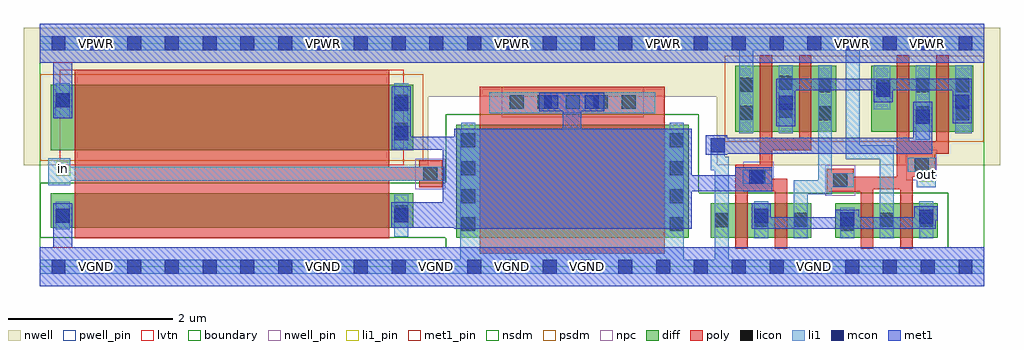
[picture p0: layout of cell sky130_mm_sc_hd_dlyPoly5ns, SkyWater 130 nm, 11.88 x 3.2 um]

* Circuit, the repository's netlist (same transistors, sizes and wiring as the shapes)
* NGSPICE file created from sky130_mm_sc_hd_dlyPoly5ns.ext - technology: sky130A

.subckt sky130_mm_sc_hd_dlyPoly5ns VPWR in out VGND VNB VPB
X0 a_851_95# in VGND VNB sky130_fd_pr__nfet_01v8 ad=1.218e+11p pd=1.42e+06u as=1.0453e+12p ps=9.52e+06u w=420000u l=3.83e+06u
X1 a_1724_71# a_851_95# VGND VNB sky130_fd_pr__nfet_01v8 ad=3.99e+11p pd=4.42e+06u as=0p ps=0u w=420000u l=150000u
X2 VPWR out a_1724_71# VNB sky130_fd_pr__nfet_01v8 ad=1.386e+11p pd=1.5e+06u as=0p ps=0u w=420000u l=150000u
X3 VGND out a_1783_329# VPB sky130_fd_pr__pfet_01v8 ad=2.64e+11p pd=2.26e+06u as=7.52e+11p ps=6.68e+06u w=800000u l=150000u
X4 a_1783_329# out VGND VPB sky130_fd_pr__pfet_01v8 ad=0p pd=0u as=0p ps=0u w=800000u l=150000u
X5 a_1724_71# out VPWR VNB sky130_fd_pr__nfet_01v8 ad=0p pd=0u as=0p ps=0u w=420000u l=150000u
X6 VGND a_851_95# VGND VNB sky130_fd_pr__nfet_01v8 ad=0p pd=0u as=0p ps=0u w=1.375e+06u l=2.25e+06u
X7 a_1783_329# a_851_95# VPWR VPB sky130_fd_pr__pfet_01v8 ad=0p pd=0u as=4.72e+11p ps=4.38e+06u w=800000u l=150000u
X8 out a_851_95# a_1783_329# VPB sky130_fd_pr__pfet_01v8 ad=2.4e+11p pd=2.2e+06u as=0p ps=0u w=800000u l=150000u
X9 a_851_95# in VPWR VPB sky130_fd_pr__pfet_01v8_lvt ad=2.32e+11p pd=2.18e+06u as=0p ps=0u w=800000u l=3.83e+06u
X10 out a_851_95# a_1724_71# VNB sky130_fd_pr__nfet_01v8 ad=1.218e+11p pd=1.42e+06u as=0p ps=0u w=420000u l=150000u
.ends

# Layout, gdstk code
import gdstk
lib = gdstk.Library(unit=1e-6, precision=1e-09)
def R(c, l, rs):  # rectangles x0, y0, x1, y1
    for r in rs: c.add(gdstk.rectangle(r[:2], r[2:], *l))
def A(c, l, x, y, w, h, nx, ny, dx, dy):  # array of equal rectangles
    R(c, l, [(x+i*dx, y+j*dy, x+i*dx+w, y+j*dy+h) for i in range(nx) for j in range(ny)])
nwell_pin = (64, 16)
nwell = (64, 20)
diff = (65, 20)
poly = (66, 20)
licon = (66, 44)
li1_pin = (67, 16)
li1 = (67, 20)
mcon = (67, 44)
met1_pin = (68, 16)
met1 = (68, 20)
nsdm = (93, 44)
psdm = (94, 20)
npc = (95, 20)
pwell_pin = (122, 16)
lvtn = (125, 44)
boundary = (235, 4)

sky130_mm_sc_hd_dlypoly5 = lib.new_cell('sky130_mm_sc_hd_dlyPoly5ns')
R(sky130_mm_sc_hd_dlypoly5, nwell_pin, [(0.605,2.635,0.775,2.805), (3.365,2.635,3.535,2.805), (7.505,2.635,7.675,2.805), (9.805,2.635,9.975,2.805), (10.725,2.635,10.895,2.805)])
R(sky130_mm_sc_hd_dlypoly5, nwell, [(-0.19,1.235,4.73,2.07), (8.24,1.235,11.69,2.07), (-0.19,2.07,11.69,2.91)])
R(sky130_mm_sc_hd_dlypoly5, diff, [(5.07,0.355,7.9,1.73), (8.17,0.355,9.39,0.775), (9.685,0.355,10.935,0.775), (0.135,0.475,4.545,0.895), (0.135,1.415,4.545,2.215), (8.465,1.645,9.695,2.445), (10.125,1.645,11.365,2.445)])
R(sky130_mm_sc_hd_dlypoly5, poly, [(5.36,0.16,7.61,2.19), (8.47,0.22,8.62,0.92), (8.95,0.22,9.1,0.92), (9.995,0.22,10.145,0.91), (10.475,0.22,10.625,0.945), (0.425,0.345,4.255,1.045), (9.58,0.91,10.145,0.945), (8.47,0.92,9.1,1.07), (9.58,0.945,10.625,1.095), (4.62,0.965,4.9,1.045), (0.425,1.045,4.9,1.215), (8.47,1.07,8.915,1.24), (9.58,1.095,9.91,1.19), (10.435,1.095,10.9,1.375), (0.425,1.215,4.255,2.395), (4.62,1.215,4.9,1.295), (8.765,1.24,8.915,1.42), (10.435,1.375,11.065,1.525), (8.765,1.42,9.395,1.57), (10.435,1.525,10.585,2.575), (10.915,1.525,11.065,2.575), (8.765,1.57,8.915,2.575), (9.245,1.57,9.395,2.575)])
A(sky130_mm_sc_hd_dlypoly5, licon, 5.13, 0.435, 0.17, 0.17, 1, 4, 0, 0.34)
A(sky130_mm_sc_hd_dlypoly5, licon, 7.67, 0.435, 0.17, 0.17, 1, 4, 0, 0.34)
A(sky130_mm_sc_hd_dlypoly5, licon, 5.725, 1.92, 0.17, 0.17, 5, 1, 0.34, 0)
R(sky130_mm_sc_hd_dlypoly5, licon, [(9.745,0.435,9.915,0.605), (8.22,0.48,8.39,0.65), (8.7,0.485,8.87,0.655), (9.18,0.485,9.35,0.655), (10.225,0.485,10.395,0.655), (10.705,0.485,10.875,0.655), (0.195,0.535,0.365,0.705), (4.315,0.58,4.485,0.75), (9.66,0.965,9.83,1.135), (8.665,1.01,8.835,1.18), (4.67,1.045,4.84,1.215), (10.65,1.155,10.82,1.325), (4.315,1.585,4.485,1.755), (9.475,1.785,9.645,1.955), (10.665,1.785,10.835,1.955), (11.145,1.785,11.315,1.955), (8.515,1.79,8.685,1.96), (8.995,1.815,9.165,1.985), (4.315,1.925,4.485,2.095), (0.195,1.94,0.365,2.11), (10.185,2.1,10.355,2.27), (9.475,2.125,9.645,2.295), (10.665,2.125,10.835,2.295), (11.145,2.125,11.315,2.295), (8.515,2.13,8.685,2.3), (8.995,2.155,9.165,2.325)])
R(sky130_mm_sc_hd_dlypoly5, li1_pin, [(10.705,1.035,10.875,1.205), (0.2,1.105,0.37,1.275)])
R(sky130_mm_sc_hd_dlypoly5, li1, [(0,-0.085,11.5,0.085), (4.745,0.085,4.915,0.09), (5.12,0.085,7.84,1.68), (8.22,0.085,8.39,1.175), (8.7,0.345,8.87,0.795), (9.18,0.345,9.35,0.88), (9.745,0.345,9.915,0.715), (10.225,0.345,10.395,1.31), (10.705,0.345,10.875,0.795), (4.315,0.365,4.485,0.875), (0.195,0.455,0.365,0.79), (9.18,0.88,9.645,0.965), (9.18,0.965,9.91,1.05), (10.675,0.965,10.905,1.155), (0.105,0.99,0.375,1.045), (8.56,1.01,8.915,1.18), (0.105,1.045,4.925,1.215), (9.475,1.05,9.91,1.14), (9.475,1.14,9.645,2.455), (10.57,1.155,10.905,1.325), (8.17,1.175,8.39,1.34), (0.105,1.215,0.375,1.32), (9.815,1.31,10.395,1.48), (8.17,1.34,8.34,1.565), (4.315,1.445,4.485,2.235), (9.815,1.48,9.985,2.635), (10.665,1.545,10.835,2.455), (8.515,1.625,8.685,2.635), (8.995,1.625,9.165,2.455), (11.145,1.625,11.345,2.455), (5.13,1.68,5.3,1.75), (7.67,1.68,7.84,1.755), (0.19,1.805,0.365,2), (5.475,1.87,7.495,2.125), (10.155,1.915,10.355,2.455), (0.195,2,0.365,2.235), (0,2.635,11.5,2.805)])
A(sky130_mm_sc_hd_dlypoly5, mcon, 0.145, -0.085, 0.17, 0.17, 25, 2, 0.46, 2.72)
R(sky130_mm_sc_hd_dlypoly5, mcon, [(9.745,0.495,9.915,0.665), (10.705,0.525,10.875,0.695), (0.195,0.535,0.365,0.705), (8.7,0.535,8.87,0.705), (4.315,0.54,4.485,0.71), (8.64,1.01,8.81,1.18), (8.17,1.395,8.34,1.565), (4.315,1.54,4.485,1.71), (10.665,1.74,10.835,1.91), (4.315,1.9,4.485,2.07), (8.995,1.91,9.165,2.08), (6.145,1.92,6.315,2.09), (6.635,1.92,6.805,2.09), (11.145,1.925,11.315,2.095), (0.195,1.94,0.365,2.11), (10.185,2.07,10.355,2.24)])
R(sky130_mm_sc_hd_dlypoly5, met1_pin, [(0,-0.24,11.5,0.24), (0.605,-0.085,0.775,0.085), (3.365,-0.085,3.535,0.085), (6.585,-0.085,6.755,0.085), (9.345,-0.085,9.515,0.085), (4.745,-0.08,4.915,0.09), (0,2.48,11.5,2.96), (0.605,2.635,0.775,2.805), (3.365,2.635,3.535,2.805), (7.505,2.635,7.675,2.805), (9.805,2.635,9.975,2.805), (10.725,2.635,10.895,2.805)])
R(sky130_mm_sc_hd_dlypoly5, met1, [(0,-0.24,11.5,0.24), (0.165,0.24,0.395,0.775), (5.05,0.465,7.94,0.475), (8.67,0.465,10.905,0.565), (4.28,0.475,7.94,0.785), (8.67,0.565,10.935,0.605), (8.67,0.605,8.9,0.775), (9.685,0.605,9.975,0.695), (10.645,0.605,10.935,0.735), (4.91,0.785,7.94,0.92), (4.91,0.92,8.915,1.115), (4.91,1.115,7.94,1.425), (8.465,1.115,8.915,1.21), (8.11,1.365,8.37,1.375), (8.11,1.375,10.865,1.57), (4.285,1.425,7.94,1.58), (8.11,1.57,8.37,1.6), (10.635,1.57,10.865,2.01), (4.285,1.58,4.515,2.195), (5.05,1.58,7.94,1.68), (6.365,1.68,6.59,1.89), (8.965,1.71,9.195,2.15), (11.115,1.745,11.345,2.15), (0.19,1.805,0.365,1.81), (0.165,1.81,0.395,2.48), (6.08,1.89,6.87,2.12), (10.155,2,10.385,2.15), (8.965,2.15,11.345,2.29), (0,2.48,11.5,2.96)])
R(sky130_mm_sc_hd_dlypoly5, nsdm, [(4.945,0.23,11.06,0.35), (0.01,0.35,11.06,0.9), (0.01,0.9,8.025,1.02), (4.945,1.02,8.025,1.855)])
R(sky130_mm_sc_hd_dlypoly5, psdm, [(0.01,1.29,4.67,2.34), (8.34,1.52,11.49,2.57)])
R(sky130_mm_sc_hd_dlypoly5, npc, [(9.56,0.865,9.93,1.235), (8.565,0.91,8.935,1.28), (4.57,0.945,4.94,1.315), (10.55,1.055,10.92,1.425), (5.625,1.82,7.355,2.19)])
R(sky130_mm_sc_hd_dlypoly5, pwell_pin, [(0.605,-0.085,0.775,0.085), (3.365,-0.085,3.535,0.085), (6.585,-0.085,6.755,0.085), (9.345,-0.085,9.515,0.085), (4.745,-0.08,4.915,0.09)])
R(sky130_mm_sc_hd_dlypoly5, lvtn, [(0.245,1.235,4.435,2.395)])
R(sky130_mm_sc_hd_dlypoly5, boundary, [(0,0,11.5,2.72)])
sky130_mm_sc_hd_dlypoly5.add(gdstk.Label('VPWR', (5.75,2.72), layer=68, texttype=16))
sky130_mm_sc_hd_dlypoly5.add(gdstk.Label('VPWR', (3.45,2.72), layer=68, texttype=16))
sky130_mm_sc_hd_dlypoly5.add(gdstk.Label('VPWR', (0.69,2.72), layer=68, texttype=16))
sky130_mm_sc_hd_dlypoly5.add(gdstk.Label('VPWR', (10.81,2.72), layer=68, texttype=16))
sky130_mm_sc_hd_dlypoly5.add(gdstk.Label('VPWR', (9.89,2.72), layer=68, texttype=16))
sky130_mm_sc_hd_dlypoly5.add(gdstk.Label('VPWR', (7.59,2.72), layer=68, texttype=16))
sky130_mm_sc_hd_dlypoly5.add(gdstk.Label('in', (0.285,1.19), layer=67, texttype=16))
sky130_mm_sc_hd_dlypoly5.add(gdstk.Label('out', (10.79,1.12), layer=67, texttype=16))
sky130_mm_sc_hd_dlypoly5.add(gdstk.Label('VGND', (5.75,0), layer=68, texttype=16))
sky130_mm_sc_hd_dlypoly5.add(gdstk.Label('VGND', (3.45,0), layer=68, texttype=16))
sky130_mm_sc_hd_dlypoly5.add(gdstk.Label('VGND', (6.67,0), layer=68, texttype=16))
sky130_mm_sc_hd_dlypoly5.add(gdstk.Label('VGND', (4.83,0.005), layer=68, texttype=16))
sky130_mm_sc_hd_dlypoly5.add(gdstk.Label('VGND', (0.69,0), layer=68, texttype=16))
sky130_mm_sc_hd_dlypoly5.add(gdstk.Label('VGND', (9.43,0), layer=68, texttype=16))
sky130_mm_sc_hd_dlypoly5.add(gdstk.Label('VPB', (3.45,2.72), layer=64, texttype=16))
sky130_mm_sc_hd_dlypoly5.add(gdstk.Label('VPB', (0.69,2.72), layer=64, texttype=16))
sky130_mm_sc_hd_dlypoly5.add(gdstk.Label('VPB', (10.81,2.72), layer=64, texttype=16))
sky130_mm_sc_hd_dlypoly5.add(gdstk.Label('VPB', (9.89,2.72), layer=64, texttype=16))
sky130_mm_sc_hd_dlypoly5.add(gdstk.Label('VPB', (7.59,2.72), layer=64, texttype=16))
sky130_mm_sc_hd_dlypoly5.add(gdstk.Label('VNB', (3.45,0), layer=122, texttype=16))
sky130_mm_sc_hd_dlypoly5.add(gdstk.Label('VNB', (6.67,0), layer=122, texttype=16))
sky130_mm_sc_hd_dlypoly5.add(gdstk.Label('VNB', (9.43,0), layer=122, texttype=16))
sky130_mm_sc_hd_dlypoly5.add(gdstk.Label('VNB', (0.69,0), layer=122, texttype=16))
sky130_mm_sc_hd_dlypoly5.add(gdstk.Label('VNB', (4.83,0.005), layer=122, texttype=16))

lib.write_gds('sky130_mm_sc_hd_dlyPoly5ns.gds')
